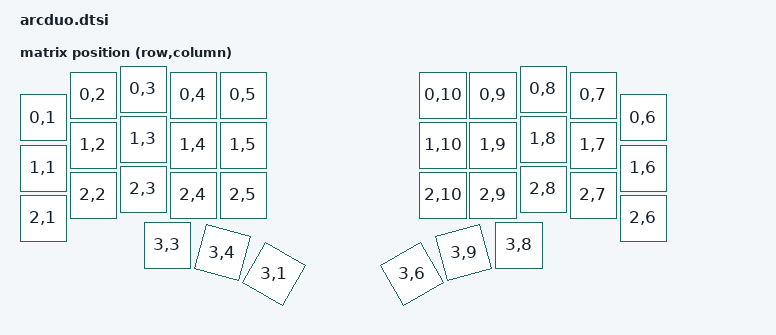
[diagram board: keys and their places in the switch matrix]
#include <dt-bindings/zmk/matrix_transform.h>
#include <dt-bindings/zmk/input_transform.h>
#include <physical_layouts.dtsi>
#include <input/processors.dtsi>

/ {
  chosen {
    zmk,kscan = &kscan0;
    zmk,physical-layout = &default_layout;
  };

  default_layout: default_layout {
    compatible = "zmk,physical-layout";
    display-name = "Default";
    transform = <&default_transform>;
    keys  //                     w   h    x    y     rot    rx    ry
        = <&key_physical_attrs 100 100    0   57       0     0     0>
        , <&key_physical_attrs 100 100  100   12       0     0     0>
        , <&key_physical_attrs 100 100  200    0       0     0     0>
        , <&key_physical_attrs 100 100  300   12       0     0     0>
        , <&key_physical_attrs 100 100  400   12       0     0     0>
        , <&key_physical_attrs 100 100  800   12       0     0     0>
        , <&key_physical_attrs 100 100  900   12       0     0     0>
        , <&key_physical_attrs 100 100 1000    0       0     0     0>
        , <&key_physical_attrs 100 100 1100   12       0     0     0>
        , <&key_physical_attrs 100 100 1200   57       0     0     0>
        , <&key_physical_attrs 100 100    0  158       0     0     0>
        , <&key_physical_attrs 100 100  100  112       0     0     0>
        , <&key_physical_attrs 100 100  200  100       0     0     0>
        , <&key_physical_attrs 100 100  300  112       0     0     0>
        , <&key_physical_attrs 100 100  400  112       0     0     0>
        , <&key_physical_attrs 100 100  800  112       0     0     0>
        , <&key_physical_attrs 100 100  900  112       0     0     0>
        , <&key_physical_attrs 100 100 1000  100       0     0     0>
        , <&key_physical_attrs 100 100 1100  112       0     0     0>
        , <&key_physical_attrs 100 100 1200  158       0     0     0>
        , <&key_physical_attrs 100 100    0  258       0     0     0>
        , <&key_physical_attrs 100 100  100  212       0     0     0>
        , <&key_physical_attrs 100 100  200  200       0     0     0>
        , <&key_physical_attrs 100 100  300  212       0     0     0>
        , <&key_physical_attrs 100 100  400  212       0     0     0>
        , <&key_physical_attrs 100 100  800  212       0     0     0>
        , <&key_physical_attrs 100 100  900  212       0     0     0>
        , <&key_physical_attrs 100 100 1000  200       0     0     0>
        , <&key_physical_attrs 100 100 1100  212       0     0     0>
        , <&key_physical_attrs 100 100 1200  258       0     0     0>
        , <&key_physical_attrs 100 100  248  312       0     0     0>
        , <&key_physical_attrs 100 100  248  312    1500   298   790>
        , <&key_physical_attrs 100 100  248  312    3000   298   790>
        , <&key_physical_attrs 100 100  952  312 (-3000)  1002   790>
        , <&key_physical_attrs 100 100  952  312 (-1500)  1002   790>
        , <&key_physical_attrs 100 100  952  312       0     0     0>
        ;
    };

  default_transform: keymap_transform0 {
    compatible = "zmk,matrix-transform";
    columns = <10>;
    rows = <4>;
    map = <
RC(0,1) RC(0,2) RC(0,3) RC(0,4) RC(0,5)  RC(0,10) RC(0,9) RC(0,8) RC(0,7) RC(0,6)
RC(1,1) RC(1,2) RC(1,3) RC(1,4) RC(1,5)  RC(1,10) RC(1,9) RC(1,8) RC(1,7) RC(1,6)
RC(2,1) RC(2,2) RC(2,3) RC(2,4) RC(2,5)  RC(2,10) RC(2,9) RC(2,8) RC(2,7) RC(2,6)
        RC(3,3) RC(3,4) RC(3,1)  RC(3,6) RC(3,9) RC(3,8)
    >;
  };

  kscan0: kscan {
    diode-direction = "row2col";
  };
};


/ {
  split_inputs {
    #address-cells = <1>;
    #size-cells = <0>;

    trackball_split: trackball_split@0 {
      compatible = "zmk,input-split";
      reg = <0>;
    };
    trackball_split2: trackball_split2@1 {
      compatible = "zmk,input-split";
      reg = <1>;
    };
  };

  trackball_listener: trackball_listener {
    compatible = "zmk,input-listener";
    status = "disabled";
    device = <&trackball_split>;
    input-processors = <&zip_xy_transform (INPUT_TRANSFORM_Y_INVERT | INPUT_TRANSFORM_X_INVERT | INPUT_TRANSFORM_XY_SWAP)>, <&zip_xy_scaler 1 4>;

    scroll {
      layers = <6>;
      input-processors = <&zip_xy_scaler 1 12>;
      process-next;
    };
  };

  trackball_listener2: trackball_listener2 {
    compatible = "zmk,input-listener";
    status = "disabled";
    device = <&trackball_split2>;
    input-processors = <&zip_xy_transform (INPUT_TRANSFORM_XY_SWAP)>, <&zip_xy_to_scroll_mapper>, <&zip_scroll_scaler 1 24>;

    scroll {
      layers = <1>;
      input-processors = <&zip_xy_transform (INPUT_TRANSFORM_X_INVERT | INPUT_TRANSFORM_XY_SWAP)>, <&zip_xy_scaler 1 24>, <&zip_xy_to_scroll_mapper>;
    };
  };
};
